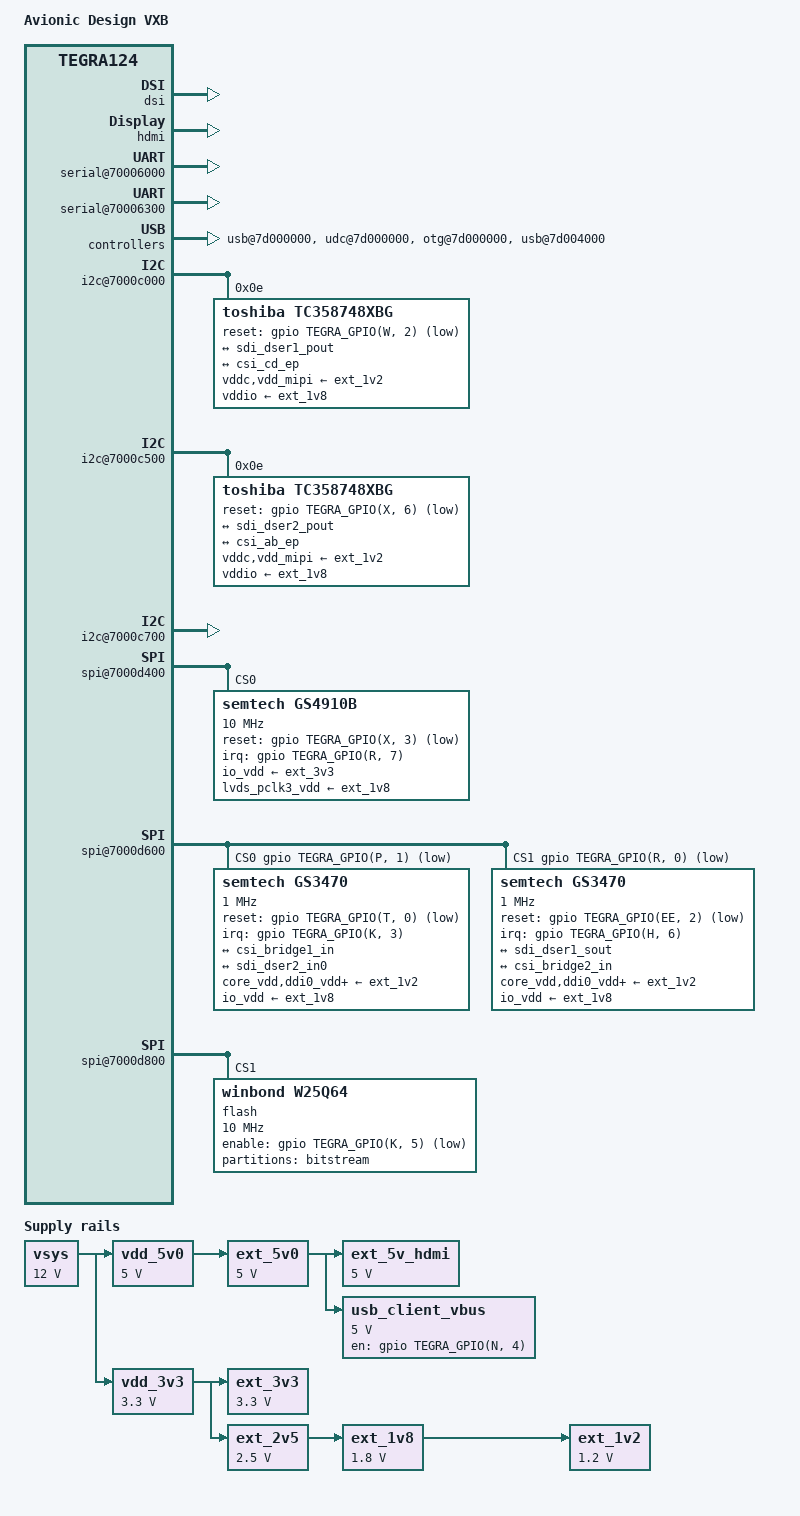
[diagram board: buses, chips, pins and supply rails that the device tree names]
/dts-v1/;

#include "tegra124-meerkat.dtsi"
#include "panel-dsi2sdi.dtsi"
#include <dt-bindings/media/gs3470.h>

/ {
	model = "Avionic Design VXB";
	compatible = "ad,vxb", "ad,meerkat", "nvidia,tegra124";
	nvidia,dtsfilename = __FILE__;

	pinmux {
		common {
			/* VXB_HSYNC_OUT_K1 */
			pk1 {
				nvidia,enable-input = <TEGRA_PIN_ENABLE>;
				nvidia,pull = <TEGRA_PIN_PULL_DOWN>;
			};

			/* VXB_VSYNC_OUT_K1 */
			pi7 {
				nvidia,enable-input = <TEGRA_PIN_ENABLE>;
				nvidia,pull = <TEGRA_PIN_PULL_DOWN>;
			};

			/* HDMI_K1_Dx_SEL_1V8 */
			ph5 {
				nvidia,pull = <TEGRA_PIN_PULL_DOWN>;
				nvidia,tristate = <TEGRA_PIN_DISABLE>;
			};

			/* HDMI_K1_OE_SW_1V8 */
			ph4 {
				nvidia,enable-input = <TEGRA_PIN_DISABLE>;
				nvidia,pull = <TEGRA_PIN_PULL_UP>;
			};

			/* Crosslink FPGA reset */
			spdif_out_pk5 {
				nvidia,tristate = <TEGRA_PIN_DISABLE>;
			};

			/* CSI Bridge 1 reset */
			gpio_w2_aud_pw2 {
				nvidia,enable-input = <TEGRA_PIN_DISABLE>;
				nvidia,pull = <TEGRA_PIN_PULL_NONE>;
				nvidia,tristate = <TEGRA_PIN_DISABLE>;
			};

			/* CSI Bridge 2 reset */
			gpio_x6_aud_px6 {
				nvidia,enable-input = <TEGRA_PIN_DISABLE>;
				nvidia,pull = <TEGRA_PIN_PULL_NONE>;
				nvidia,tristate = <TEGRA_PIN_DISABLE>;
			};

			/* Clock generator reset */
			gpio_x3_aud_px3 {
				nvidia,enable-input = <TEGRA_PIN_DISABLE>;
				nvidia,pull = <TEGRA_PIN_PULL_NONE>;
				nvidia,tristate = <TEGRA_PIN_DISABLE>;
			};

			/* SDI EQ 2 nCS */
			dap1_dout_pn2 {
			};

			/* SDI EQ 3 nCS */
			gpio_w3_aud_pw3 {
				nvidia,enable-input = <TEGRA_PIN_DISABLE>;
				nvidia,pull = <TEGRA_PIN_PULL_UP>;
				nvidia,tristate = <TEGRA_PIN_DISABLE>;
			};

			/* SDI Deserializer 1 nCS */
			dap3_din_pp1 {
				nvidia,pull = <TEGRA_PIN_PULL_UP>;
				nvidia,tristate = <TEGRA_PIN_DISABLE>;
			};

			/* SDI Deserializer 1 reset */
			kb_row16_pt0 {
			};

			/* SDI Deserializer 2 nCS */
			kb_row0_pr0 {
				nvidia,pull = <TEGRA_PIN_PULL_UP>;
			};

			/* SDI Deserializer 2 reset */
			dap_mclk1_req_pee2 {
			};

			/* SDI EQ 1 carrier detect */
			pi5 {
				nvidia,tristate = <TEGRA_PIN_DISABLE>;
			};

			/* SDI EQ 2 carrier detect */
			pk2 {
			};

			/* SDI EQ 3 carrier detect */
			ph3 {
				nvidia,enable-input = <TEGRA_PIN_ENABLE>;
				nvidia,pull = <TEGRA_PIN_PULL_UP>;
				nvidia,tristate = <TEGRA_PIN_DISABLE>;
			};

			/* SDI Deserializer 1 locked */
			pk3 {
				nvidia,tristate = <TEGRA_PIN_DISABLE>;
			};

			/* SPI3 MOSI */
			ulpi_data0_po1 {
				nvidia,function = "spi3";
				nvidia,enable-input = <TEGRA_PIN_DISABLE>;
				nvidia,pull = <TEGRA_PIN_PULL_NONE>;
			};

			/* SPI3 MISO */
			ulpi_data1_po2 {
				nvidia,function = "spi3";
				nvidia,pull = <TEGRA_PIN_PULL_NONE>;
				nvidia,tristate = <TEGRA_PIN_DISABLE>;
			};

			/* SPI3 SCK */
			ulpi_data2_po3 {
				nvidia,function = "spi3";
				nvidia,enable-input = <TEGRA_PIN_DISABLE>;
				nvidia,pull = <TEGRA_PIN_PULL_NONE>;
				nvidia,tristate = <TEGRA_PIN_DISABLE>;
			};

			/* SPI3 CS1 */
			ulpi_data3_po4 {
				nvidia,function = "spi3";
				nvidia,enable-input = <TEGRA_PIN_DISABLE>;
				nvidia,tristate = <TEGRA_PIN_DISABLE>;
			};

			/* SDI Deserializer 2 locked */
			ph6 {
				nvidia,tristate = <TEGRA_PIN_DISABLE>;
			};

			/* FPGA SPI Enable */
			ph1 {
			};

			/* H/V sync lock lost */
			kb_row4_pr4 {
				nvidia,pins = "kb_row4_pr4";
				nvidia,pull = <TEGRA_PIN_PULL_DOWN>;
				nvidia,tristate = <TEGRA_PIN_DISABLE>;
			};

			/* H/V sync ref lost */
			kb_row7_pr7 {
				nvidia,pins = "kb_row7_pr7";
				nvidia,pull = <TEGRA_PIN_PULL_DOWN>;
			};
		};
	};

	host1x {
		dc@54200000 {
			status = "okay";

			nvidia,dc-connection = "internal-lcd";
			panel = <&dsi_panel>;
		};

		dsi {
			status = "okay";

			dsi_panel: panel-dsi2sdi {
				status = "okay";
				nvidia,dsi-instance = <DSI_INSTANCE_0>;
				reset-gpios = <&gpio TEGRA_GPIO(H, 1) GPIO_ACTIVE_LOW>;
				reset-hold = <1>;
				reset-settle = <1>;
			};
		};

		dc@54240000 {
			status = "okay";

			nvidia,dc-connection = "external-display";
			vdd_hdmi_5v0-supply = <&ext_5v_hdmi>;
		};

		hdmi {
			status = "okay";

			hdmi-display {
				disp-default-out {
					nvidia,out-parent-clk = "pll_d2";
				};
			};
		};

		vi {
			port@0 {
				endpoint@0 {
					remote-endpoint = <&csi_bridge2_out>;
				};
			};

			port@1 {
				endpoint@0 {
					remote-endpoint = <&csi_bridge1_out>;
				};
			};
		};
	};

	gpio: gpio@6000d000 {
		gpio-init-names = "default";
		gpio-init-0 = <&gpio_default>;
		gpio_default: default {
			gpio-output-high =
				/* Enable CVBS converter */
				<TEGRA_GPIO(K, 6)>,
				/* Select HDMI output B */
				<TEGRA_GPIO(H, 5)>,
				/* Enable HDMI output */
				<TEGRA_GPIO(H, 4)>;
		};
	};

	serial@70006000 {
		compatible = "nvidia,tegra114-hsuart", "nvidia,tegra30-hsuart";
		status = "okay";
	};

	serial@70006300 {
		status = "okay";
	};

	/* Recovery USB */
	usb@7d000000 {
		status = "okay";
		nvidia,port-otg;
		nvidia,remote-wakeup-supported;
		nvidia,power-off-on-suspend;

		usb_vbus-supply = <&usb_client_vbus>;
	};

	udc@7d000000 {
		status = "okay";

		usb_vbus-supply = <&usb_client_vbus>;
	};

	otg@7d000000 {
		status = "okay";

		usb_vbus-supply = <&usb_client_vbus>;
	};

	/* Ethernet over USB */
	usb@7d004000 {
		status = "okay";

		/* There is no vbus, leave it out? */
		usb_vbus-supply = <&ext_3v3>;
	};

	/* GEN1 I2C */
	i2c@7000c000 {
		status = "okay";

		tc358748xbg@0e {
			compatible = "toshiba,tc358748xbg";
			reg = <0x0e>;

			vddc-supply = <&ext_1v2>;
			vdd_mipi-supply = <&ext_1v2>;
			vddio-supply = <&ext_1v8>;

			reset-gpio = <&gpio TEGRA_GPIO(W, 2) GPIO_ACTIVE_LOW>;

			clock-rate = <27000000>;

			ports {
				#address-cells = <1>;
				#size-cells = <0>;

				/* Input port */
				port@0 {
					reg = <0>;
					csi_bridge1_in: endpoint {
						remote-endpoint = <&sdi_dser1_pout>;

						bus-width = <10>;
						hsync-active = <0>;
						vsync-active = <1>;
						data-active = <1>;
						pclk-sample = <1>;
					};
				};

				/* Ouput port */
				port@1 {
					reg = <1>;
					csi_bridge1_out: endpoint {
						remote-endpoint = <&csi_cd_ep>;

						clock-lanes = <0>;
						data-lanes = <0>, <1>, <2>, <3>;
						clock-noncontinuous;
					};
				};
			};
		};
	};

	/* CAM I2C */
	i2c@7000c500 {
		status = "okay";

		tc358748xbg@0e {
			compatible = "toshiba,tc358748xbg";
			reg = <0x0e>;

			vddc-supply = <&ext_1v2>;
			vdd_mipi-supply = <&ext_1v2>;
			vddio-supply = <&ext_1v8>;

			reset-gpio = <&gpio TEGRA_GPIO(X, 6) GPIO_ACTIVE_LOW>;

			clock-rate = <27000000>;

			ports {
				#address-cells = <1>;
				#size-cells = <0>;

				/* Input port */
				port@0 {
					reg = <0>;
					csi_bridge2_in: endpoint {
						remote-endpoint = <&sdi_dser2_pout>;

						bus-width = <10>;
						hsync-active = <0>;
						vsync-active = <1>;
						data-active = <1>;
						pclk-sample = <1>;
					};
				};

				/* Ouput port */
				port@1 {
					reg = <1>;
					csi_bridge2_out: endpoint {
						remote-endpoint = <&csi_ab_ep>;

						clock-lanes = <0>;
						data-lanes = <0>, <1>, <2>, <3>;
						clock-noncontinuous;
					};
				};
			};
		};
	};

	/* HDMI DDC */
	i2c@7000c700 {
		status = "okay";
	};

	/* SPI1 */
	spi@7000d400 {
		status = "okay";

		gs4910b@0 {
			compatible = "semtech,gs4910b";
			reg = <0>;

			interrupt-parent = <&gpio>;
			interrupts = <TEGRA_GPIO(R, 7) IRQ_TYPE_EDGE_BOTH>,
				<TEGRA_GPIO(R, 4) IRQ_TYPE_EDGE_BOTH>;
			interrupt-names = "ref_lost", "lock_lost";

			io_vdd-supply = <&ext_3v3>;
			lvds_pclk3_vdd-supply = <&ext_1v8>;

			spi-max-frequency = <10000000>;

			reset-gpio = <&gpio TEGRA_GPIO(X, 3) GPIO_ACTIVE_LOW>;
		};
	};

	/* SPI2 */
	spi@7000d600 {
		status = "okay";
		cs-gpios = <&gpio TEGRA_GPIO(P, 1) GPIO_ACTIVE_LOW>,
			<&gpio TEGRA_GPIO(R, 0) GPIO_ACTIVE_LOW>;

		gs3470@0 {
			compatible = "semtech,gs3470";
			reg = <0>;

			interrupt-parent = <&gpio>;
			interrupts = <TEGRA_GPIO(K, 3) IRQ_TYPE_EDGE_BOTH>;
			interrupt-names = "locked";

			core_vdd-supply = <&ext_1v2>;
			ddi0_vdd-supply = <&ext_1v2>;
			ddi1_vdd-supply = <&ext_1v2>;
			ddo_vdd-supply = <&ext_1v2>;
			io_vdd-supply = <&ext_1v8>;
			pll_vdd-supply = <&ext_1v2>;

			//spi-max-frequency = <22000000>;
			spi-max-frequency = <1000000>;

			reset-gpio = <&gpio TEGRA_GPIO(T, 0) GPIO_ACTIVE_LOW>;

			/* HACK: The CSI bridge needs HACTIVE and VACTIVE
			 * signals (H and V on the GS3470) where HACTIVE
			 * doesn't toggle while VACTIVE is not set. However
			 * the GS3470 toggle the H signal all the time.
			 *
			 * As a workaround we enable the 861 timing mode
			 * (HSYNC/VSYNC/DE) and use the data-enable (DE)
			 * for HACTIVE. This also mean that we now have
			 * a VSYNC pulse instead of a true VACTIVE, but that
			 * is not a problem with the CSI bridge as it only
			 * care that the transition is some time before the
			 * first line.
			 */
			timing-861;
			stat-mux = <STAT_F_DE>, <STAT_V_VSYNC>,
				<STAT_H_HSYNC>, <STAT_LOCKED>,
				<STAT_nDATA_ERROR>, <STAT_nVIDEO_ERROR>;

			ports {
				#address-cells = <1>;
				#size-cells = <0>;

				port@0 {
					reg = <0>;
					sdi_dser1_in0: endpoint {
						/* Connected to SDI equalizer 1
						 * but this chip doesn't appear
						 * in the DT.
						 */
					};
				};

				port@1 {
					reg = <1>;
					sdi_dser1_in1: endpoint {
						/* Connected to SDI equalizer 2
						 * but this chip doesn't appear
						 * in the DT.
						 */
					};
				};

				port@2 {
					reg = <2>;
					sdi_dser1_pout: endpoint {
						remote-endpoint = <&csi_bridge1_in>;

						bus-width = <10>;
						data-shift = <10>;
						hsync-active = <1>;
						vsync-active = <1>;
						data-active = <1>;
						pclk-sample = <1>;
					};
				};

				port@3 {
					reg = <3>;
					sdi_dser1_sout: endpoint {
						remote-endpoint = <&sdi_dser2_in0>;
					};
				};
			};
		};

		gs3470@1 {
			compatible = "semtech,gs3470";
			reg = <1>;

			interrupt-parent = <&gpio>;
			interrupts = <TEGRA_GPIO(H, 6) IRQ_TYPE_EDGE_BOTH>;
			interrupt-names = "locked";

			core_vdd-supply = <&ext_1v2>;
			ddi0_vdd-supply = <&ext_1v2>;
			ddi1_vdd-supply = <&ext_1v2>;
			ddo_vdd-supply = <&ext_1v2>;
			io_vdd-supply = <&ext_1v8>;
			pll_vdd-supply = <&ext_1v2>;

			//spi-max-frequency = <22000000>;
			spi-max-frequency = <1000000>;

			reset-gpio = <&gpio TEGRA_GPIO(EE, 2) GPIO_ACTIVE_LOW>;

			timing-861;
			stat-mux = <STAT_F_DE>, <STAT_V_VSYNC>,
				<STAT_H_HSYNC>, <STAT_LOCKED>,
				<STAT_nDATA_ERROR>, <STAT_nVIDEO_ERROR>;

			ports {
				#address-cells = <1>;
				#size-cells = <0>;

				port@0 {
					reg = <0>;
					sdi_dser2_in0: endpoint {
						remote-endpoint = <&sdi_dser1_sout>;
					};
				};

				port@1 {
					reg = <1>;
					sdi_dser2_in1: endpoint {
						/* Connected to SDI equalizer 3
						 * but this chip doesn't appear
						 * in the DT.
						 */
					};
				};

				port@2 {
					reg = <2>;
					sdi_dser2_pout: endpoint {
						remote-endpoint = <&csi_bridge2_in>;

						bus-width = <10>;
						data-shift = <10>;
						hsync-active = <1>;
						vsync-active = <1>;
						data-active = <1>;
						pclk-sample = <1>;
					};
				};

				/* Serial out is not connected to anything */
				port@3 {
					reg = <3>;
					status = "disabled";
				};
			};
		};
	};

	/* SPI3 */
	spi@7000d800 {
		status = "okay";

		flash@1 {
			#address-cells = <1>;
			#size-cells = <1>;

			compatible = "winbond,w25q64";
			reg = <1>;

			spi-max-frequency = <10000000>;
			enable-gpio = <&gpio TEGRA_GPIO(K, 5) GPIO_ACTIVE_LOW>;

			controller-data {
				nvidia,enable-hw-based-cs;
			};

			partition@0 {
				label = "bitstream";
				reg = <0 0x800000>;
			};
		};
	};

	regulators {
		vsys: regulator@100 {
			compatible = "regulator-fixed";
			reg = <100>;
			regulator-name = "VSYS";
			regulator-min-microvolt = <12000000>;
			regulator-max-microvolt = <12000000>;
			regulator-always-on;
			regulator-boot-on;
		};

		vdd_5v0: regulator@101 {
			compatible = "regulator-fixed";
			reg = <101>;
			regulator-name = "+5V_SYS";
			regulator-min-microvolt = <5000000>;
			regulator-max-microvolt = <5000000>;
			regulator-always-on;
			regulator-boot-on;
			vin-supply = <&vsys>;
		};

		vdd_3v3: regulator@102 {
			compatible = "regulator-fixed";
			reg = <102>;
			regulator-name = "+3V3_SYS";
			regulator-min-microvolt = <3300000>;
			regulator-max-microvolt = <3300000>;
			regulator-always-on;
			regulator-boot-on;
			vin-supply = <&vsys>;
		};

		ext_5v0: regulator@103 {
			compatible = "regulator-fixed";
			reg = <103>;
			regulator-name = "+5V_EXT";
			regulator-min-microvolt = <5000000>;
			regulator-max-microvolt = <5000000>;
			regulator-always-on;
			regulator-boot-on;
			vin-supply = <&vdd_5v0>;
		};

		ext_3v3: regulator@104 {
			compatible = "regulator-fixed";
			reg = <104>;
			regulator-name = "+3V3_EXT";
			regulator-min-microvolt = <3300000>;
			regulator-max-microvolt = <3300000>;
			regulator-always-on;
			regulator-boot-on;
			vin-supply = <&vdd_3v3>;
		};

		ext_2v5: regulator@105 {
			compatible = "regulator-fixed";
			reg = <105>;
			regulator-name = "+2V5_EXT";
			regulator-min-microvolt = <2500000>;
			regulator-max-microvolt = <2500000>;
			regulator-always-on;
			regulator-boot-on;
			vin-supply = <&vdd_3v3>;
		};

		ext_1v8: regulator@106 {
			compatible = "regulator-fixed";
			reg = <106>;
			regulator-name = "+1V8_EXT";
			regulator-min-microvolt = <1800000>;
			regulator-max-microvolt = <1800000>;
			regulator-always-on;
			regulator-boot-on;
			vin-supply = <&ext_2v5>;
		};

		ext_1v2: regulator@107 {
			compatible = "regulator-fixed";
			reg = <107>;
			regulator-name = "+1V2_EXT";
			regulator-min-microvolt = <1200000>;
			regulator-max-microvolt = <1200000>;
			regulator-always-on;
			regulator-boot-on;
			vin-supply = <&ext_1v8>;
		};

		ext_5v_hdmi: regulator@108 {
			compatible = "regulator-fixed";
			reg = <108>;
			regulator-name = "+5V_EXT_HDMI";
			regulator-min-microvolt = <5000000>;
			regulator-max-microvolt = <5000000>;
			regulator-always-on;
			regulator-boot-on;
			vin-supply = <&ext_5v0>;
		};

		usb_client_vbus: regulator@109 {
			compatible = "regulator-fixed";
			reg = <109>;
			regulator-name = "USB_CLIENT_VBUS";
			regulator-min-microvolt = <5000000>;
			regulator-max-microvolt = <5000000>;
			gpio = <&gpio TEGRA_GPIO(N, 4) GPIO_ACTIVE_HIGH>;
			enable-active-high;
			gpio-open-drain;
			vin-supply = <&ext_5v0>;
		};
	};

	pwm-fan {
		status = "okay";
	};
};
